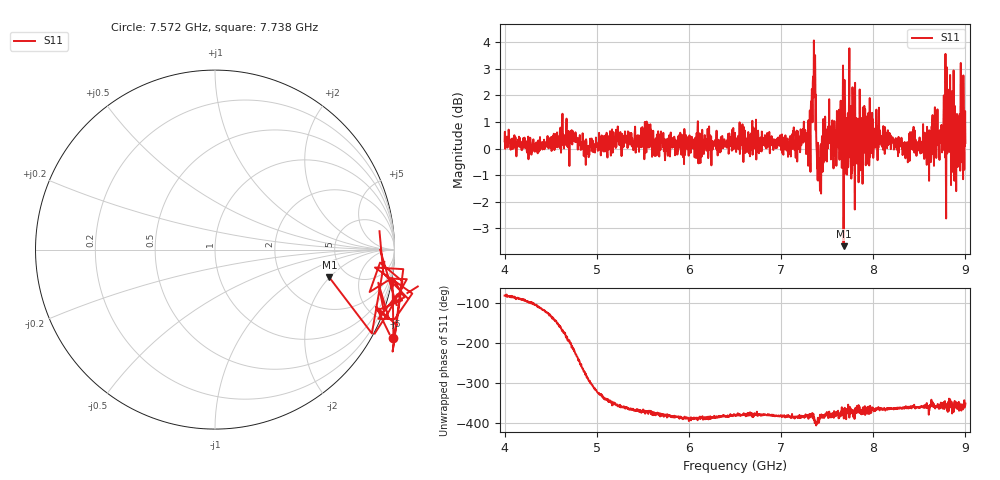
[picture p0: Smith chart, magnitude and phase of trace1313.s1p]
! Created with skrf 1.8.0 (http://scikit-rf.org).
# Hz S RI R 50.0
!freq ReS11 ImS11
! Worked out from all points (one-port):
!   1601 points, 4 GHz to 9 GHz, reference 50 ohm
!   lowest |S11| = -3.7 dB at 7.678 GHz (marker M1), VSWR 4.81, Z = 183 - j99.7 ohm
!   |S11| at or under -10 dB: nowhere
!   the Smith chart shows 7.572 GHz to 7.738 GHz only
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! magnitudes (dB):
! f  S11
! 4 GHz  0.3
! 4.353 GHz  -0.1
! 4.625 GHz  1.0
! 4.897 GHz  0.1
! 5.25 GHz  0.6
! 5.875 GHz  -0.2
! 6.5 GHz  0.6
! 7.125 GHz  0.6
! 7.294 GHz  -0.6
! 7.347 GHz  2.7
! 7.369 GHz  3.5
! 7.409 GHz  -0.3
! 7.503 GHz  0.4
! 7.609 GHz  0.4
! 7.65 GHz  1.2
! 7.678 GHz  -3.7
! 7.703 GHz  0.5
! 7.716 GHz  -1.0
! 7.75 GHz  -0.3
! 8.375 GHz  -0.5
! 8.425 GHz  0.5
! 8.606 GHz  -1.2
! 8.769 GHz  1.2
! 8.822 GHz  1.5
! 8.875 GHz  1.1
! 8.919 GHz  -0.6
! 8.959 GHz  2.0
! 9 GHz  0.2
